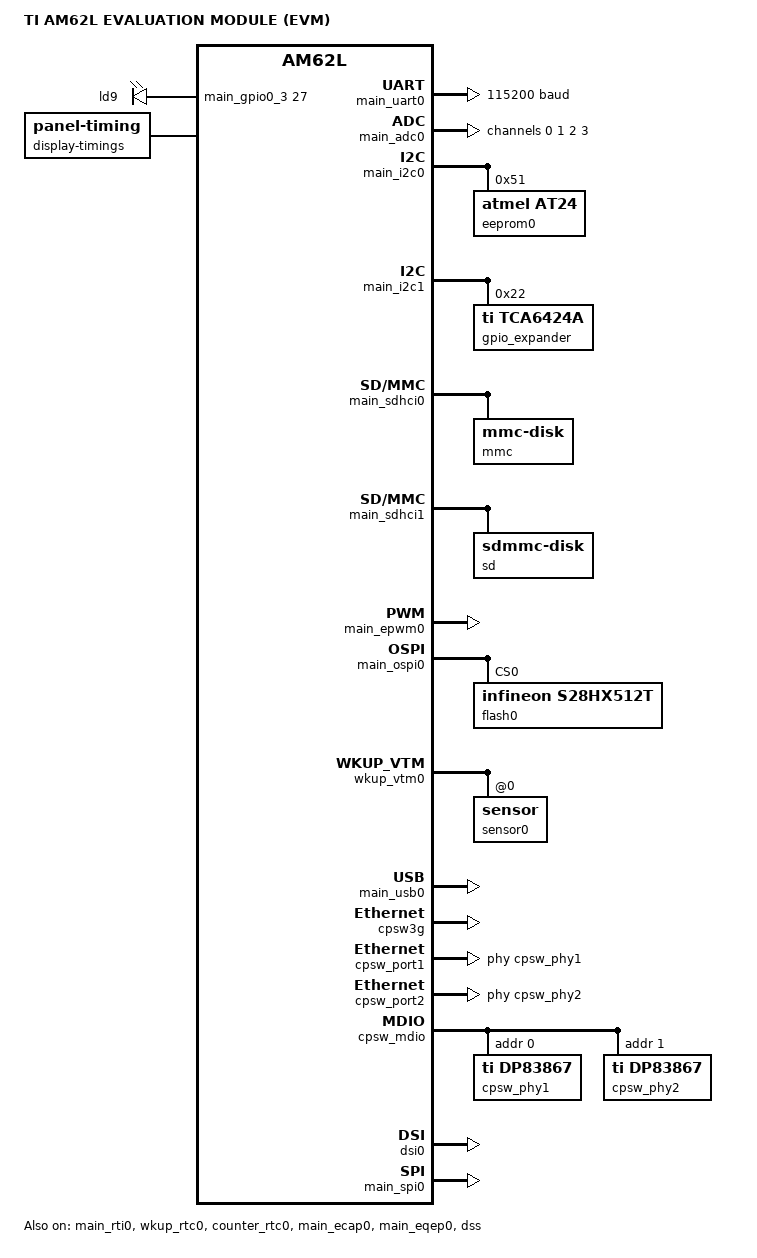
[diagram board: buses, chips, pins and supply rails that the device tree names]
/*
 * Copyright (C) 2025-2026 Texas Instruments Incorporated - https://www.ti.com/
 *
 * SPDX-License-Identifier: Apache-2.0
 */

/dts-v1/;

#include <ti/am62l3_a53.dtsi>
#include "am62l_evm_am62l3_a53-pinctrl.dtsi"
#include <zephyr/dt-bindings/mipi_dsi/mipi_dsi.h>

/ {
	model = "TI AM62L EVALUATION MODULE (EVM)";
	compatible = "ti,am62l_evm";

	chosen {
		zephyr,console = &main_uart0;
		zephyr,shell-uart = &main_uart0;
		zephyr,sram = &ddr0;
		zephyr,flash-controller = &main_ospi0;
		zephyr,flash = &flash0_memory;
		zephyr,display = &dss;
		zephyr,touch = &gt911;
	};

	aliases {
		adc0 = &main_adc0;
		led0 = &ld9;
		watchdog0 = &main_rti0;
		rtc = &counter_rtc0;
		sdhc0 = &main_sdhci0;
		sdhc1 = &main_sdhci1;
		sdhc2 = &main_sdhci2;
	};

	leds: leds {
		compatible = "gpio-leds";

		ld9: led_0 {
			gpios = <&main_gpio0_3 27 GPIO_ACTIVE_HIGH>;
		};
	};

	cpus {
		cpu@0 {
			status = "okay";
		};

		cpu@1 {
			status = "okay";
		};
	};

	ddr0: memory@82000000 {
		reg = <0x82000000 (DT_SIZE_G(2) - DT_SIZE_M(32))>;
	};
};

&main_uart0 {
	current-speed = <115200>;
	pinctrl-0 = <&uart0_rx_default>,
		    <&uart0_tx_default>;
	pinctrl-names = "default";
	status = "okay";
};

&main_adc0 {
	ti,fifo = <0>;
	pinctrl-0 = <&adc0_ext_trigger0>,
		    <&adc0_ext_trigger1>;
	pinctrl-names = "default";
	status = "okay";

	channel@0 {
		reg = <0>;
		ti,open-delay = <0>;
		zephyr,gain = "ADC_GAIN_1";
		zephyr,reference = "ADC_REF_VDD_1";
		zephyr,acquisition-time = <0>;
		zephyr,resolution = <12>;
		zephyr,oversampling = <4>;
		zephyr,vref-mv = <1800>;
	};

	channel@1 {
		reg = <1>;
		ti,open-delay = <0>;
		zephyr,gain = "ADC_GAIN_1";
		zephyr,reference = "ADC_REF_VDD_1";
		zephyr,acquisition-time = <0>;
		zephyr,resolution = <12>;
		zephyr,oversampling = <4>;
		zephyr,vref-mv = <1800>;
	};

	channel@2 {
		reg = <2>;
		ti,open-delay = <0>;
		zephyr,gain = "ADC_GAIN_1";
		zephyr,reference = "ADC_REF_VDD_1";
		zephyr,acquisition-time = <0>;
		zephyr,resolution = <12>;
		zephyr,oversampling = <4>;
		zephyr,vref-mv = <1800>;
	};

	channel@3 {
		reg = <3>;
		ti,open-delay = <0>;
		zephyr,gain = "ADC_GAIN_1";
		zephyr,reference = "ADC_REF_VDD_1";
		zephyr,acquisition-time = <0>;
		zephyr,resolution = <12>;
		zephyr,oversampling = <4>;
		zephyr,vref-mv = <1800>;
	};
};

&main_gpio0_3 {
	pinctrl-0 = <&main_gpio0_3_led>;
	pinctrl-names = "default";
	status = "okay";
};

&main_i2c0 {
	pinctrl-0 = <&main_i2c0_scl &main_i2c0_sda>;
	pinctrl-names = "default";
	status = "okay";

	eeprom0: eeprom@51 {
		compatible = "atmel,at24";
		reg = <0x51>;
		address-width = <16>;
		pagesize = <128>;
		size = <65536>;
		timeout = <5>;
	};

	display_mcu: display_mcu@45 {
		compatible = "raspberrypi,touchscreen-panel-regulator-v2";
		reg = <0x45>;
		gpio-controller;
		#gpio-cells = <2>;
		status = "disabled";
	};

	gt911: gt911@5d {
		compatible = "goodix,gt911";
		reg = <0x5d>;
		alt-addr = <0x14>;
		reset-gpios = <&display_mcu 1 GPIO_ACTIVE_LOW>;
		screen-width = <720>;
		screen-height = <1280>;
		status = "disabled";
	};
};

&main_i2c1 {
	pinctrl-0 = <&main_i2c1_scl &main_i2c1_sda>;
	pinctrl-names = "default";
	status = "okay";

	gpio_expander: tca6424a@22 {
		compatible = "ti,tca6424a";
		reg = <0x22>;
		gpio-controller;
		#gpio-cells = <2>;
		ngpios = <24>;
	};

	sii9022a: sii9022a@3b {
		compatible = "sil,sii9022a";
		reg = <0x3b>;
		/* HDMI RGB output; pixel clock latched on falling edge */
		output-format = <0>;
		clk-falling;
		display-controller = <&dss>;
		status = "disabled";
	};
};

&main_rti0 {
	status = "okay";
};

&wkup_rtc0 {
	status = "okay";
};

&counter_rtc0 {
	status = "okay";
};

/* eMMC */
&main_sdhci0 {
	pinctrl-0 = <&mmc0_cmd
		     &mmc0_clk
		     &mmc0_dat0
		     &mmc0_dat1
		     &mmc0_dat2
		     &mmc0_dat3
		     &mmc0_dat4
		     &mmc0_dat5
		     &mmc0_dat6
		     &mmc0_dat7>;
	pinctrl-names = "default";
	status = "okay";

	mmc {
		compatible = "zephyr,mmc-disk";
		bus-width = <8>;
		disk-name = "emmc";
	};
};

/* SD */
&main_sdhci1 {
	pinctrl-0 = <&mmc1_cmd
		     &mmc1_clk
		     &mmc1_dat0
		     &mmc1_dat1
		     &mmc1_dat2
		     &mmc1_dat3
		     &mmc1_sdcd>;
	pinctrl-names = "default";
	status = "okay";

	sd {
		compatible = "zephyr,sdmmc-disk";
		disk-name = "sd";
	};
};

/* SDIO */
&main_sdhci2 {
	pinctrl-0 = <&mmc2_cmd
		     &mmc2_clk
		     &mmc2_clklb
		     &mmc2_dat0
		     &mmc2_dat1
		     &mmc2_dat2
		     &mmc2_dat3>;
	pinctrl-names = "default";
	ti,fails-without-test-cd;
	status = "disabled";
};

&main_epwm0 {
	pinctrl-0 = <&main_epwm0_a &main_epwm0_b>;
	pinctrl-names = "default";
	status = "okay";
};

&main_ecap0 {
	pinctrl-0 = <&main_ecap0_in>;
	pinctrl-names = "default";
	status = "okay";
};

&main_ospi0 {
	pinctrl-0 = <&main_ospi0_clk
		     &main_ospi0_d0
		     &main_ospi0_d1
		     &main_ospi0_d2
		     &main_ospi0_d3
		     &main_ospi0_d4
		     &main_ospi0_d5
		     &main_ospi0_d6
		     &main_ospi0_d7
		     &main_ospi0_dqs
		     &main_ospi0_lbclko
		     &main_ospi0_csn0>;
	pinctrl-names = "default";
	status = "okay";

	flash0: flash@0 {
		compatible = "infineon,s28hx512t", "jedec,nor";
		status = "okay";
		reg = <0>;
		jedec-id = [34 5b 1a];
		size = <DT_SIZE_M(512)>; /* 512 Mbits(64 MB) - input in Bits */
		erase-block-size = <DT_SIZE_K(256)>;
		mspi-max-frequency = <DT_FREQ_M(25)>;
		mspi-io-mode = "MSPI_IO_MODE_OCTAL";
		mspi-endian = "MSPI_LITTLE_ENDIAN";
		mspi-data-rate = "MSPI_DATA_RATE_DUAL";
		address-length = "ADDR_4_BYTE";
		command-length = "INSTR_2_BYTE";
		mspi-hardware-ce-num = <0>;
		mspi-cpp-mode = "MSPI_CPP_MODE_0";
		mspi-ce-polarity = "MSPI_CE_ACTIVE_LOW";
		initial-soft-reset;
		t-reset-recovery = <90000>; /* 90us */
		#address-cells = <1>;
		#size-cells = <1>;
		ranges = <0x0 0x60000000 DT_SIZE_M(64)>; /* 64 MB - input in Bytes */

		flash0_memory: flash@0 {
			compatible = "soc-nv-flash";
			reg = <0x0 DT_SIZE_M(64)>; /* 64 MB - input in Bytes */
			#address-cells = <1>;
			#size-cells = <1>;
			ranges;
		};
	};
};

&main_eqep0 {
	pinctrl-0 = <&eqep0_a &eqep0_b &eqep0_i &eqep0_s>;
	pinctrl-names = "default";
	status = "okay";
};

&wkup_vtm0 {
	ti,max-reset-mc = <120000>;
	ti,max-recovery-mc = <105000>;
	status = "okay";

	sensor0: sensor@0 {
		reg = <0>;
		ti,voltage-domain = <0>;
	};
};

zephyr_udc0: &main_usb0 {
	status = "okay";
	ti,syscon-phy-pll-refclk = <&usb0_phy_ctrl>;
	ti,vbus-divider;
};

&pktdma {
	status = "okay";
};

&cpsw3g {
	status = "okay";
};

&cpsw_port1 {
	phy-handle = <&cpsw_phy1>;
};

&cpsw_port2 {
	phy-handle = <&cpsw_phy2>;
};

&cpsw_mdio {
	status = "okay";

	cpsw_phy1: ethernet-phy@0 {
		compatible = "ti,dp83867";
		reg = <0>;
		ti,interface-type = "rgmii-id";
		ti,rx-internal-delay = <7>; /* 2 ns delay */
		ti,tx-internal-delay = <0>; /* Delay added by MAC */
	};

	cpsw_phy2: ethernet-phy@1 {
		compatible = "ti,dp83867";
		reg = <1>;
		ti,interface-type = "rgmii-id";
		ti,rx-internal-delay = <7>; /* 2 ns delay */
		ti,tx-internal-delay = <0>; /* Delay added by MAC */
	};
};

&dss {
	data-width = <24>;
	height = <1280>;
	width = <720>;

	display-timings {
		compatible = "zephyr,panel-timing";
		clock-frequency = <83330000>;
		hfront-porch = <239>;
		hback-porch = <50>;
		hsync-len = <33>;
		vfront-porch = <20>;
		vback-porch = <30>;
		vsync-len = <2>;
		hsync-active = <0>;
		vsync-active = <0>;
		de-active = <1>;
		pixelclk-active = <0>;
	};

	status = "okay";
};

&dsi0 {
	status = "okay";
	data-lanes = <2>;

	rpi_td2: panel@0 {
		compatible = "ilitek,ili9881c";
		reg = <0>;
		data-lanes = <2>;
		pixel-format = <MIPI_DSI_PIXFMT_RGB888>;
		reset-gpios = <&display_mcu 0 GPIO_ACTIVE_HIGH>;
		width = <720>;
		height = <1280>;
		status = "disabled";
	};
};

&main_spi0 {
	pinctrl-0 = <&main_spi0_clk &main_spi0_cs0 &main_spi0_d0 &main_spi0_d1>;
	pinctrl-names = "default";
	status = "okay";
};
